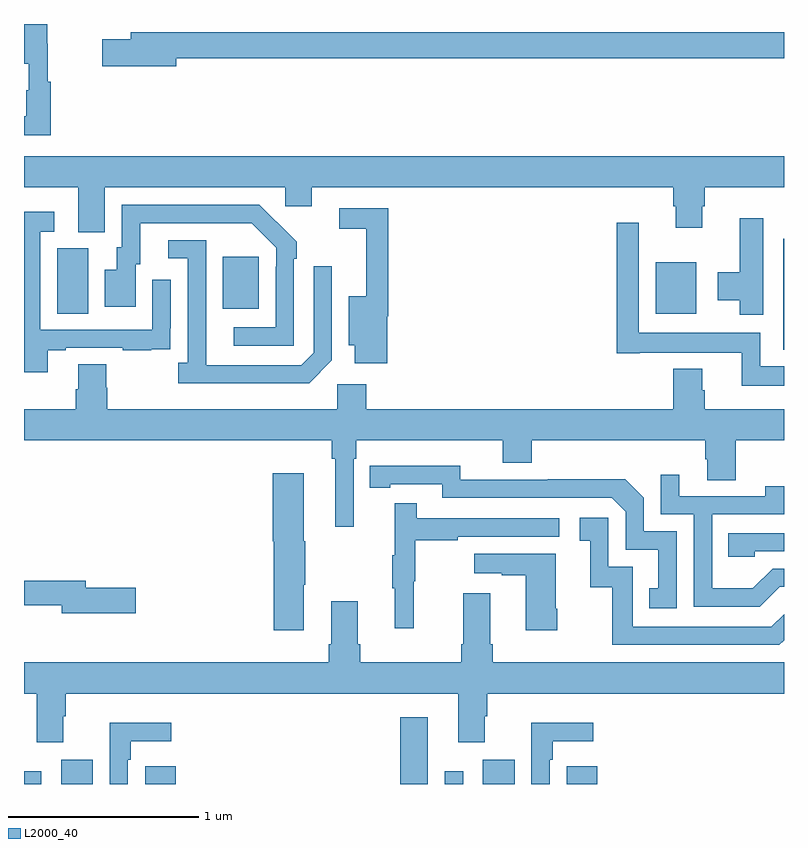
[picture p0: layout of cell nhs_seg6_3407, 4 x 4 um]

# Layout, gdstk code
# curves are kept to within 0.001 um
import gdstk
lib = gdstk.Library(unit=1e-6, precision=1e-09)
def R(c, l, rs):  # rectangles x0, y0, x1, y1
    for r in rs: c.add(gdstk.rectangle(r[:2], r[2:], *l))
def P(c, l, *ps):  # polygons
    for p in ps: c.add(gdstk.Polygon(p, *l))
L2000_40 = (2000, 40)

nhs_seg6_3407 = lib.new_cell('nhs_seg6_3407')
R(nhs_seg6_3407, L2000_40, [(311,973.5,311.091,973.567), (311.195,973.5,311.362,973.627), (311.637,973.5,311.798,973.594), (312.98,973.5,313.126,973.852), (313.215,973.5,313.311,973.567), (313.415,973.5,313.582,973.627), (313.857,973.5,314.018,973.594), (314.997,975.785,315,976.369), (314.324,975.974,314.539,976.246), (311.174,975.976,311.338,976.32), (312.047,976.001,312.235,976.276)])
P(nhs_seg6_3407, L2000_40, [(311.141,977.195),(311.126,977.195),(311.126,977.395),(311.122,977.395),(311.122,977.5),(311,977.5),(311,977.291),(311.024,977.291),(311.024,977.151),(311.013,977.151),(311.013,977.015),(311,977.015),(311,976.914),(311.141,976.914)],
  [(311.8,977.32),(315,977.32),(315,977.456),(311.561,977.456),(311.561,977.42),(311.412,977.42),(311.412,977.278),(311.8,977.278)],
  [(311.425,976.64),(312.375,976.64),(312.375,976.542),(312.514,976.542),(312.514,976.64),(314.417,976.64),(314.417,976.542),(314.429,976.542),(314.429,976.428),(314.569,976.428),(314.569,976.542),(314.582,976.542),(314.582,976.64),(315,976.64),(315,976.804),(311,976.804),(311,976.64),(311.285,976.64),(311.285,976.405),(311.425,976.405)],
  [(312.42,976.265),(312.435,976.265),(312.435,976.353),(312.238,976.548),(311.514,976.548),(311.514,976.326),(311.489,976.326),(311.489,976.207),(311.426,976.207),(311.426,976.011),(311.587,976.011),(311.587,976.236),(311.611,976.236),(311.611,976.452),(312.199,976.452),(312.327,976.323),(312.327,976.223),(312.324,976.223),(312.324,975.903),(312.105,975.903),(312.105,975.807),(312.42,975.807)],
  [(312.911,975.962),(312.917,975.962),(312.917,976.53),(312.66,976.53),(312.66,976.422),(312.8,976.422),(312.8,976.066),(312.71,976.066),(312.71,975.809),(312.74,975.809),(312.74,975.714),(312.911,975.714)],
  [(311.125,975.783),(311.221,975.783),(311.221,975.795),(311.521,975.795),(311.521,975.783),(311.669,975.783),(311.669,975.789),(311.771,975.789),(311.771,975.898),(311.772,975.898),(311.772,976.153),(311.676,976.153),(311.676,975.891),(311.085,975.891),(311.085,976.407),(311.158,976.407),(311.158,976.513),(311,976.513),(311,975.666),(311.125,975.666)],
  [(314.89,976.477),(314.768,976.477),(314.768,976.194),(314.651,976.194),(314.651,976.046),(314.768,976.046),(314.768,975.969),(314.89,975.969)],
  [(315,975.7),(314.874,975.7),(314.874,975.874),(314.235,975.874),(314.235,976.453),(314.119,976.453),(314.119,975.768),(314.242,975.768),(314.242,975.77),(314.777,975.77),(314.777,975.596),(315,975.596)],
  [(312.621,975.729),(312.621,976.225),(312.525,976.225),(312.525,975.771),(312.459,975.705),(311.959,975.705),(311.958,976.362),(311.76,976.362),(311.76,976.266),(311.862,976.266),(311.862,975.718),(311.811,975.718),(311.811,975.608),(312.5,975.608)],
  [(312.735,975.212),(312.749,975.212),(312.749,975.308),(313.52,975.308),(313.52,975.191),(313.673,975.191),(313.673,975.308),(314.585,975.308),(314.585,975.21),(314.597,975.21),(314.597,975.1),(314.745,975.1),(314.745,975.308),(315,975.308),(315,975.472),(314.582,975.472),(314.582,975.573),(314.569,975.573),(314.569,975.685),(314.417,975.685),(314.417,975.472),(312.8,975.472),(312.8,975.604),(312.648,975.604),(312.648,975.472),(311.438,975.472),(311.438,975.585),(311.433,975.585),(311.433,975.71),(311.285,975.71),(311.285,975.578),(311.273,975.578),(311.273,975.472),(311,975.472),(311,975.308),(312.619,975.308),(312.619,975.212),(312.638,975.212),(312.638,974.853),(312.735,974.853)],
  [(314.436,974.829),(314.262,974.829),(314.262,975.006),(314.164,975.104),(313.756,975.104),(313.756,975.102),(313.296,975.102),(313.296,975.175),(312.82,975.174),(312.82,975.058),(312.928,975.058),(312.928,975.078),(313.2,975.078),(313.2,975.006),(314.094,975.006),(314.166,974.934),(314.166,974.733),(314.339,974.733),(314.339,974.529),(314.29,974.529),(314.29,974.424),(314.436,974.424)],
  [(312.472,974.548),(312.48,974.548),(312.48,974.778),(312.472,974.778),(312.472,975.136),(312.308,975.136),(312.308,974.778),(312.314,974.778),(312.314,974.31),(312.472,974.31)],
  [(314.977,974.538),(315,974.538),(315,974.634),(314.94,974.634),(314.836,974.53),(314.622,974.53),(314.622,974.919),(315,974.919),(315,975.067),(314.9,975.067),(314.9,975.015),(314.449,975.015),(314.449,975.127),(314.352,975.127),(314.352,974.919),(314.526,974.919),(314.526,974.433),(314.872,974.433)],
  [(313.052,974.568),(313.06,974.568),(313.06,974.782),(313.283,974.782),(313.283,974.802),(313.816,974.802),(313.816,974.898),(313.067,974.898),(313.067,974.977),(312.95,974.977),(312.95,974.705),(312.939,974.705),(312.939,974.531),(312.95,974.531),(312.95,974.319),(313.052,974.319)],
  [(315,974.256),(315,974.394),(314.934,974.328),(314.205,974.328),(314.205,974.643),(314.076,974.643),(314.076,974.902),(313.926,974.902),(313.926,974.781),(313.979,974.781),(313.979,974.535),(314.097,974.535),(314.097,974.232),(314.976,974.232)],
  [(314.847,974.724),(315,974.724),(315,974.82),(314.707,974.82),(314.707,974.697),(314.847,974.697)],
  [(313.806,974.422),(313.798,974.422),(313.798,974.713),(313.371,974.713),(313.371,974.609),(313.514,974.609),(313.514,974.599),(313.64,974.599),(313.64,974.31),(313.806,974.31)],
  [(311.587,974.534),(311.326,974.534),(311.326,974.57),(311,974.57),(311,974.442),(311.198,974.442),(311.198,974.399),(311.587,974.399)],
  [(311.206,973.856),(311.219,973.856),(311.219,973.976),(313.286,973.976),(313.286,973.719),(313.426,973.719),(313.426,973.856),(313.439,973.856),(313.439,973.976),(315,973.976),(315,974.14),(313.466,974.14),(313.466,974.236),(313.453,974.236),(313.453,974.503),(313.313,974.503),(313.313,974.236),(313.301,974.236),(313.301,974.14),(312.77,974.14),(312.77,974.236),(312.757,974.236),(312.757,974.461),(312.617,974.461),(312.617,974.236),(312.605,974.236),(312.605,974.14),(311,974.14),(311,973.976),(311.066,973.976),(311.066,973.719),(311.206,973.719)],
  [(313.767,973.628),(313.783,973.628),(313.783,973.724),(313.996,973.724),(313.996,973.822),(313.671,973.822),(313.671,973.5),(313.767,973.5)],
  [(311.547,973.628),(311.563,973.628),(311.563,973.724),(311.776,973.724),(311.776,973.822),(311.451,973.822),(311.451,973.5),(311.547,973.5)])

lib.write_gds('nhs_seg6_3407.gds')
